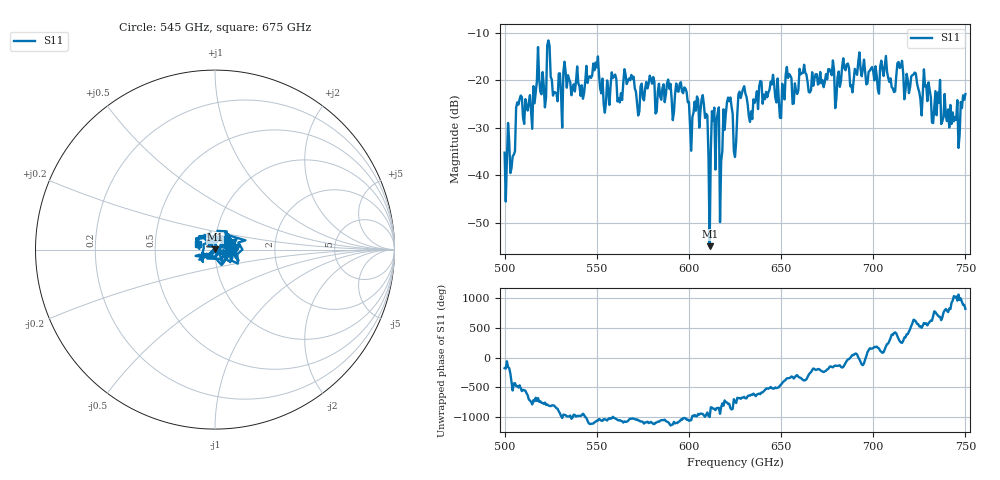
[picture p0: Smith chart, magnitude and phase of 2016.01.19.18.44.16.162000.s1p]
!Created with skrf (http://scikit-rf.org).
# GHz S RI R 50.0
!freq ReS11 ImS11
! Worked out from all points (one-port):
!   401 points, 500 GHz to 750 GHz, reference 50 ohm
!   lowest |S11| = -54.9 dB at 611.2 GHz (marker M1), VSWR 1.00, Z = 50 + j0.177 ohm
!   |S11| at or under -10 dB: start of sweep to end of sweep
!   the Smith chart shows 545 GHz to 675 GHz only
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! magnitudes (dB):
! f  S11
! 500 GHz  -35.2
! 504.4 GHz  -36.0
! 507.5 GHz  -25.2
! 521.2 GHz  -21.2
! 524.4 GHz  -12.7
! 527.5 GHz  -22.6
! 531.2 GHz  -30.0
! 549.4 GHz  -16.3
! 553.8 GHz  -25.0
! 559.4 GHz  -19.2
! 562.5 GHz  -24.7
! 566.2 GHz  -20.8
! 571.9 GHz  -25.0
! 593.8 GHz  -22.3
! 601.2 GHz  -34.8
! 608.1 GHz  -25.2
! 611.2 GHz  -54.9
! 615 GHz  -28.4
! 618.1 GHz  -34.9
! 621.9 GHz  -24.4
! 625 GHz  -36.2
! 628.8 GHz  -22.7
! 633.1 GHz  -28.8
! 656.2 GHz  -25.0
! 687.5 GHz  -21.3
! 718.8 GHz  -20.0
! 745.6 GHz  -24.2
! 750 GHz  -22.9
